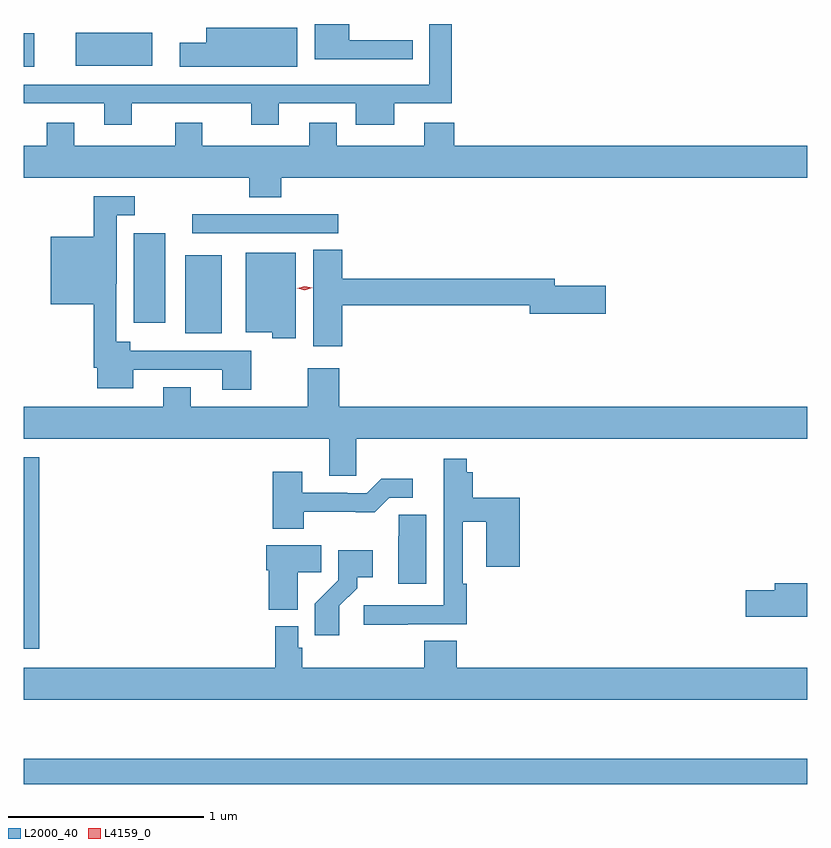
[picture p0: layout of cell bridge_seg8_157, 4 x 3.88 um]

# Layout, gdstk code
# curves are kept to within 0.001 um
import gdstk
lib = gdstk.Library(unit=1e-6, precision=1e-09)
def R(c, l, rs):  # rectangles x0, y0, x1, y1
    for r in rs: c.add(gdstk.rectangle(r[:2], r[2:], *l))
def P(c, l, *ps):  # polygons
    for p in ps: c.add(gdstk.Polygon(p, *l))
L2000_40 = (2000, 40)
L4159_0 = (4159, 0)

bridge_seg8_157 = lib.new_cell('bridge_seg8_157')
R(bridge_seg8_157, L2000_40, [(603.876,1122.73,607.876,1122.859), (603.876,1123.419,603.956,1124.398), (604.7,1125.029,604.888,1125.427), (604.439,1125.084,604.6,1125.541), (604.737,1125.54,605.482,1125.636), (603.876,1126.391,603.931,1126.561), (604.142,1126.394,604.534,1126.564)])
P(bridge_seg8_157, L2000_40, [(605.753,1126.429),(605.861,1126.429),(605.861,1126.526),(605.539,1126.526),(605.539,1126.608),(605.363,1126.608),(605.363,1126.428),(605.753,1126.428)],
  [(604.429,1126.203),(605.039,1126.203),(605.039,1126.094),(605.179,1126.094),(605.179,1126.203),(605.57,1126.203),(605.57,1126.094),(605.767,1126.094),(605.767,1126.203),(606.062,1126.203),(606.062,1126.608),(605.946,1126.608),(605.946,1126.299),(603.876,1126.299),(603.876,1126.203),(604.289,1126.203),(604.289,1126.094),(604.429,1126.094)],
  [(605.272,1126.588),(604.808,1126.588),(604.808,1126.513),(604.674,1126.513),(604.674,1126.391),(605.272,1126.391)],
  [(605.192,1125.824),(607.876,1125.824),(607.876,1125.988),(606.074,1125.988),(606.074,1126.105),(605.921,1126.105),(605.921,1125.988),(605.473,1125.988),(605.473,1126.105),(605.333,1126.105),(605.333,1125.988),(604.789,1125.988),(604.789,1126.105),(604.649,1126.105),(604.649,1125.988),(604.135,1125.988),(604.135,1126.105),(603.995,1126.105),(603.995,1125.988),(603.876,1125.988),(603.876,1125.824),(605.027,1125.824),(605.027,1125.725),(605.192,1125.725)],
  [(605.037,1124.94),(604.42,1124.94),(604.42,1124.986),(604.35,1124.986),(604.35,1125.283),(604.351,1125.283),(604.351,1125.633),(604.444,1125.633),(604.444,1125.729),(604.234,1125.729),(604.234,1125.523),(604.016,1125.523),(604.016,1125.179),(604.234,1125.179),(604.234,1124.854),(604.253,1124.854),(604.253,1124.75),(604.435,1124.75),(604.435,1124.844),(604.889,1124.844),(604.889,1124.742),(605.037,1124.742)],
  [(605.501,1125.172),(606.458,1125.172),(606.458,1125.13),(606.847,1125.13),(606.847,1125.272),(606.586,1125.272),(606.586,1125.308),(605.501,1125.308),(605.501,1125.455),(605.354,1125.455),(605.354,1124.964),(605.501,1124.964)],
  [(605.266,1125.442),(605.009,1125.442),(605.009,1125.035),(605.144,1125.035),(605.144,1125.005),(605.266,1125.005)],
  [(605.574,1124.492),(607.876,1124.492),(607.876,1124.656),(605.486,1124.656),(605.486,1124.851),(605.326,1124.851),(605.326,1124.656),(604.729,1124.656),(604.729,1124.755),(604.589,1124.755),(604.589,1124.656),(603.876,1124.656),(603.876,1124.492),(605.435,1124.492),(605.435,1124.302),(605.574,1124.302)],
  [(605.837,1123.545),(606.137,1123.545),(606.137,1123.751),(606.117,1123.751),(606.117,1124.069),(606.236,1124.069),(606.236,1123.839),(606.407,1123.839),(606.407,1124.191),(606.167,1124.191),(606.167,1124.32),(606.137,1124.32),(606.137,1124.389),(606.021,1124.389),(606.021,1123.641),(605.613,1123.641),(605.613,1123.543),(605.837,1123.543)],
  [(605.307,1124.118),(605.669,1124.117),(605.742,1124.19),(605.863,1124.19),(605.863,1124.287),(605.701,1124.287),(605.628,1124.214),(605.528,1124.214),(605.528,1124.217),(605.299,1124.217),(605.299,1124.323),(605.147,1124.323),(605.147,1124.033),(605.307,1124.033)],
  [(605.932,1124.105),(605.79,1124.105),(605.79,1123.994),(605.789,1123.994),(605.789,1123.752),(605.932,1123.752)],
  [(605.275,1123.81),(605.396,1123.81),(605.396,1123.948),(605.114,1123.948),(605.114,1123.821),(605.126,1123.821),(605.126,1123.619),(605.275,1123.619)],
  [(605.488,1123.639),(605.578,1123.729),(605.578,1123.784),(605.659,1123.784),(605.659,1123.924),(605.481,1123.924),(605.481,1123.769),(605.362,1123.65),(605.362,1123.488),(605.488,1123.488)],
  [(607.876,1123.754),(607.709,1123.754),(607.709,1123.718),(607.56,1123.718),(607.56,1123.583),(607.876,1123.583)],
  [(607.876,1123.324),(606.086,1123.324),(606.086,1123.46),(605.921,1123.46),(605.921,1123.324),(605.297,1123.324),(605.297,1123.425),(605.277,1123.425),(605.277,1123.534),(605.161,1123.534),(605.161,1123.324),(603.876,1123.324),(603.876,1123.16),(607.876,1123.16)])
P(bridge_seg8_157, L4159_0, [(605.311,1125.25),(605.273,1125.26),(605.273,1125.26),(605.273,1125.26),(605.311,1125.27),(605.348,1125.261),(605.348,1125.261),(605.348,1125.261)])

lib.write_gds('bridge_seg8_157.gds')
